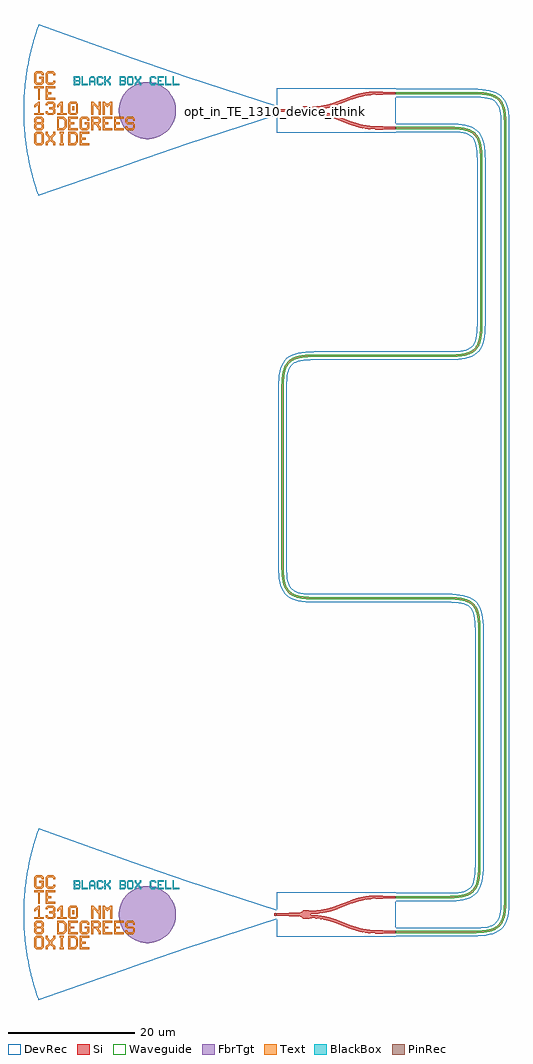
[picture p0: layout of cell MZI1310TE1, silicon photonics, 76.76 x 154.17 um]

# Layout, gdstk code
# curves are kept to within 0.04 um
import gdstk
lib = gdstk.Library(unit=1e-6, precision=1e-09)
def R(c, l, rs):  # rectangles x0, y0, x1, y1
    for r in rs: c.add(gdstk.rectangle(r[:2], r[2:], *l))
def P(c, l, *ps):  # polygons
    for p in ps: c.add(gdstk.Polygon(p, *l))
Si = (1, 0)
PinRec = (1, 10)
Waveguide = (1, 99)
Text = (10, 0)
DevRec = (68, 0)
FbrTgt = (81, 0)
BlackBox = (998, 0)

ebeam_y_1310 = lib.new_cell('ebeam_y_1310')
R(ebeam_y_1310, Si, [(6.5,-3,7.4,-2.5), (-7.4,-0.25,-6,0.25), (6.5,2.5,7.4,3)])
P(ebeam_y_1310, Si, [(6.458,-3),(6.237,-2.997),(6.237,-2.497),(6.5,-2.5),(6.5,-3)],
  [(5.033,-2.908),(3.59,-2.634),(2.265,-2.21),(2.445,-1.744),(3.731,-2.154),(5.033,-2.404)],
  [(6.233,-2.997),(5.033,-2.908),(5.033,-2.404),(6.237,-2.497)],
  [(2.265,-2.21),(0.055,-1.356),(0.235,-0.89),(2.445,-1.744)],
  [(-0.762,-1.076),(-2.334,-0.724),(-4,-0.6),(-4,-0.1),(-2.381,-0.212),(-0.762,-0.555)],
  [(0.055,-1.356),(-0.762,-1.076),(-0.762,-0.555),(0.235,-0.89)],
  [(6.237,2.497),(6.237,2.997),(6.5,3),(6.5,2.5)],
  [(2.445,1.744),(2.267,2.211),(3.59,2.634),(5.033,2.908),(5.033,2.404),(3.731,2.154)],
  [(5.033,2.404),(5.033,2.908),(6.237,2.997),(6.237,2.497)],
  [(0.235,0.89),(0.055,1.356),(2.265,2.21),(2.445,1.744)],
  [(-4,0.1),(-4,0.6),(-2.334,0.724),(-0.762,1.076),(-0.762,0.555),(-2.381,0.212)],
  [(-0.762,0.555),(-0.762,1.076),(0.055,1.356),(0.235,0.89)],
  [(-5.122,-0.662),(-5.442,-0.374),(-5.808,-0.255),(-6,-0.25),(-6,0.25),(-5.817,0.253),(-5.442,0.374),(-5.122,0.662)],
  [(-4.957,-0.703),(-5.122,-0.662),(-5.122,0.662),(-4.538,0.703),(-4,0.6),(-4,-0.6),(-4.509,-0.701)],
  [(-7.4,-0.25),(-9.4,-0.175),(-9.4,0.175),(-7.4,0.25)],
  [(7.4,2.5),(7.4,3),(9.4,2.925),(9.4,2.575)],
  [(7.4,-3),(7.4,-2.5),(9.4,-2.575),(9.4,-2.925)])
R(ebeam_y_1310, DevRec, [(-9.4,-3.5,9.4,3.5)])
ebeam_y_1310.add(gdstk.FlexPath([(9.35,2.75),(9.45,2.75)], 0.35, ends="flush", simple_path=True, layer=1, datatype=10))  # PinRec
ebeam_y_1310.add(gdstk.FlexPath([(9.35,-2.75),(9.45,-2.75)], 0.35, ends="flush", simple_path=True, layer=1, datatype=10))  # PinRec
ebeam_y_1310.add(gdstk.FlexPath([(-9.35,0),(-9.45,0)], 0.35, ends="flush", simple_path=True, layer=1, datatype=10))  # PinRec
ebeam_y_1310.add(gdstk.Label('Ref: Y Zhang, Opt. Express, 21/1, 2013, for 1550 nm\nWorks reasonably well at 1310 nm', (-9.25,-1), layer=10, texttype=0))
ebeam_y_1310.add(gdstk.Label('opt2', (9.4,2.75), layer=1, texttype=10))
ebeam_y_1310.add(gdstk.Label('opt3', (9.4,-2.75), layer=1, texttype=10))
ebeam_y_1310.add(gdstk.Label('opt1', (-9.4,0), layer=1, texttype=10))
ebeam_y_1310.add(gdstk.Label('Lumerical_INTERCONNECT_library=Design kits/ebeam', (-6.86,-2.19), layer=68, texttype=0))
ebeam_y_1310.add(gdstk.Label('Component=ebeam_y_1310', (-9,1.5), layer=68, texttype=0))

text_10 = lib.new_cell('TEXT$10')
P(text_10, BlackBox, [(0,0),(0,1.4),(0.8,1.4),(1,1.2),(0.2,1.2),(0.2,0.8),(0.7,0.8),(0.8,0.9),(0.8,1.1),(0.7,1.2),(1,1.2),(1,0.8),(0.9,0.7),(1,0.6),(0.2,0.6),(0.2,0.2),(0.7,0.2),(0.8,0.3),(0.8,0.5),(0.7,0.6),(1,0.6),(1,0.2),(0.8,0)],
  [(1.2,0),(1.2,1.4),(1.4,1.4),(1.4,0.2),(2.2,0.2),(2.2,0)],
  [(2.4,0),(2.4,1.1),(2.7,1.4),(3.1,1.4),(3.3,1.2),(2.8,1.2),(2.6,1),(2.6,0.7),(3.2,0.7),(3.2,1),(3,1.2),(3.3,1.2),(3.4,1.1),(3.4,0),(3.2,0),(3.2,0.5),(2.6,0.5),(2.6,0)],
  [(3.8,0),(3.6,0.2),(3.6,1.2),(3.8,1.4),(4.4,1.4),(4.6,1.2),(4.6,1),(4.4,1),(4.4,1.1),(4.3,1.2),(3.9,1.2),(3.8,1.1),(3.8,0.3),(3.9,0.2),(4.3,0.2),(4.4,0.3),(4.4,0.4),(4.6,0.4),(4.6,0.2),(4.4,0)],
  [(4.8,0),(4.8,1.4),(5,1.4),(5,0.8),(5.2,0.8),(5.6,1.2),(5.6,1.4),(5.8,1.4),(5.8,1.1),(5.4,0.7),(5.8,0.3),(5.8,0),(5.6,0),(5.6,0.2),(5.2,0.6),(5,0.6),(5,0)],
  [(7.2,0),(7.2,1.4),(8,1.4),(8.2,1.2),(7.4,1.2),(7.4,0.8),(7.9,0.8),(8,0.9),(8,1.1),(7.9,1.2),(8.2,1.2),(8.2,0.8),(8.1,0.7),(8.2,0.6),(7.4,0.6),(7.4,0.2),(7.9,0.2),(8,0.3),(8,0.5),(7.9,0.6),(8.2,0.6),(8.2,0.2),(8,0)],
  [(8.6,0),(8.4,0.2),(8.4,1.2),(8.6,1.4),(9.2,1.4),(9.4,1.2),(9.4,0.7),(9.2,0.7),(9.2,1.1),(9.1,1.2),(8.7,1.2),(8.6,1.1),(8.6,0.3),(8.7,0.2),(9.1,0.2),(9.2,0.3),(9.2,0.7),(9.4,0.7),(9.4,0.2),(9.2,0)],
  [(9.6,0),(9.6,0.3),(9.9,0.6),(9.9,0.8),(9.6,1.1),(9.6,1.4),(9.8,1.4),(9.8,1.2),(10.1,0.9),(10.4,1.2),(10.4,1.4),(10.6,1.4),(10.6,1.1),(10.3,0.8),(10.3,0.6),(10.6,0.3),(10.6,0),(10.4,0),(10.4,0.2),(10.1,0.5),(9.8,0.2),(9.8,0)],
  [(12.2,0),(12,0.2),(12,1.2),(12.2,1.4),(12.8,1.4),(13,1.2),(13,1),(12.8,1),(12.8,1.1),(12.7,1.2),(12.3,1.2),(12.2,1.1),(12.2,0.3),(12.3,0.2),(12.7,0.2),(12.8,0.3),(12.8,0.4),(13,0.4),(13,0.2),(12.8,0)],
  [(13.2,0),(13.2,1.4),(14.2,1.4),(14.2,1.2),(13.4,1.2),(13.4,0.8),(13.8,0.8),(13.8,0.6),(13.4,0.6),(13.4,0.2),(14.2,0.2),(14.2,0)],
  [(14.4,0),(14.4,1.4),(14.6,1.4),(14.6,0.2),(15.4,0.2),(15.4,0)],
  [(15.6,0),(15.6,1.4),(15.8,1.4),(15.8,0.2),(16.6,0.2),(16.6,0)])

gc_te_1310_8degoxide_bb = lib.new_cell('GC_TE_1310_8degOxide_BB')
R(gc_te_1310_8degoxide_bb, Si, [(-0.4,-0.175,0,0.175)])
R(gc_te_1310_8degoxide_bb, Text, [(-32.27,0.06,-31.97,0.66)])
P(gc_te_1310_8degoxide_bb, Text, [(-37.67,1.71),(-37.67,3.51),(-38.27,3.51),(-38.27,3.81),(-36.77,3.81),(-36.77,3.51),(-37.37,3.51),(-37.37,1.71)],
  [(-37.97,-5.49),(-38.27,-5.19),(-38.27,-3.69),(-37.97,-3.39),(-37.07,-3.39),(-36.77,-3.69),(-36.77,-4.44),(-37.07,-4.44),(-37.07,-3.84),(-37.22,-3.69),(-37.82,-3.69),(-37.97,-3.84),(-37.97,-5.04),(-37.82,-5.19),(-37.22,-5.19),(-37.07,-5.04),(-37.07,-4.44),(-36.77,-4.44),(-36.77,-5.19),(-37.07,-5.49)],
  [(-31.07,-5.49),(-31.07,-3.39),(-29.57,-3.39),(-29.57,-3.69),(-30.77,-3.69),(-30.77,-4.29),(-30.17,-4.29),(-30.17,-4.59),(-30.77,-4.59),(-30.77,-5.19),(-29.57,-5.19),(-29.57,-5.49)],
  [(-32.87,-3.09),(-32.87,-0.99),(-31.37,-0.99),(-31.37,-1.29),(-32.57,-1.29),(-32.57,-1.89),(-31.97,-1.89),(-31.97,-2.19),(-32.57,-2.19),(-32.57,-2.79),(-31.37,-2.79),(-31.37,-3.09)],
  [(-27.47,-3.09),(-27.47,-0.99),(-25.97,-0.99),(-25.97,-1.29),(-27.17,-1.29),(-27.17,-1.89),(-26.57,-1.89),(-26.57,-2.19),(-27.17,-2.19),(-27.17,-2.79),(-25.97,-2.79),(-25.97,-3.09)],
  [(-25.67,-3.09),(-25.67,-0.99),(-24.17,-0.99),(-24.17,-1.29),(-25.37,-1.29),(-25.37,-1.89),(-24.77,-1.89),(-24.77,-2.19),(-25.37,-2.19),(-25.37,-2.79),(-24.17,-2.79),(-24.17,-3.09)],
  [(-36.47,1.71),(-36.47,3.81),(-34.97,3.81),(-34.97,3.51),(-36.17,3.51),(-36.17,2.91),(-35.57,2.91),(-35.57,2.61),(-36.17,2.61),(-36.17,2.01),(-34.97,2.01),(-34.97,1.71)],
  [(-27.47,-0.69),(-27.47,1.41),(-27.17,1.41),(-26.87,1.11),(-26.57,1.11),(-26.27,1.41),(-25.97,1.41),(-25.97,-0.69),(-26.27,-0.69),(-26.27,0.81),(-26.42,0.81),(-26.72,0.51),(-27.02,0.81),(-27.17,0.81),(-27.17,-0.69)],
  [(-29.27,-0.69),(-29.27,1.41),(-28.97,1.41),(-28.22,0.66),(-28.07,0.66),(-28.07,1.41),(-27.77,1.41),(-27.77,-0.69),(-28.07,-0.69),(-28.07,0.06),(-28.82,0.81),(-28.97,0.81),(-28.97,-0.69)],
  [(-34.22,-5.49),(-34.22,-5.19),(-34.07,-5.19),(-34.07,-3.69),(-34.22,-3.69),(-34.22,-3.39),(-33.62,-3.39),(-33.62,-3.69),(-33.77,-3.69),(-33.77,-5.19),(-33.62,-5.19),(-33.62,-5.49)],
  [(-36.17,-0.69),(-36.47,-0.39),(-36.47,-0.09),(-36.17,-0.09),(-36.17,-0.24),(-36.02,-0.39),(-35.42,-0.39),(-35.27,-0.24),(-35.27,0.06),(-35.42,0.21),(-35.87,0.21),(-35.87,0.51),(-35.42,0.51),(-35.27,0.66),(-35.27,0.96),(-35.42,1.11),(-36.02,1.11),(-36.17,0.96),(-36.17,0.81),(-36.47,0.81),(-36.47,1.11),(-36.17,1.41),(-35.27,1.41),(-34.97,1.11),(-34.97,0.51),(-35.12,0.36),(-34.97,0.21),(-34.97,-0.39),(-35.27,-0.69)],
  [(-29.27,-3.09),(-29.27,-0.99),(-28.07,-0.99),(-27.77,-1.29),(-28.97,-1.29),(-28.97,-1.89),(-28.22,-1.89),(-28.07,-1.74),(-28.07,-1.44),(-28.22,-1.29),(-27.77,-1.29),(-27.77,-1.89),(-28.07,-2.19),(-28.07,-2.34),(-27.77,-2.64),(-27.77,-3.09),(-28.07,-3.09),(-28.07,-2.79),(-28.67,-2.19),(-28.97,-2.19),(-28.97,-3.09)],
  [(-30.77,-3.09),(-31.07,-2.79),(-31.07,-1.29),(-30.77,-0.99),(-29.87,-0.99),(-29.57,-1.29),(-29.57,-1.59),(-29.87,-1.59),(-29.87,-1.44),(-30.02,-1.29),(-30.62,-1.29),(-30.77,-1.44),(-30.77,-2.64),(-30.62,-2.79),(-30.02,-2.79),(-29.87,-2.64),(-29.87,-2.19),(-30.32,-2.19),(-30.32,-1.89),(-29.57,-1.89),(-29.57,-2.79),(-29.87,-3.09)],
  [(-37.97,4.11),(-38.27,4.41),(-38.27,5.91),(-37.97,6.21),(-37.07,6.21),(-36.77,5.91),(-36.77,5.61),(-37.07,5.61),(-37.07,5.76),(-37.22,5.91),(-37.82,5.91),(-37.97,5.76),(-37.97,4.56),(-37.82,4.41),(-37.22,4.41),(-37.07,4.56),(-37.07,5.01),(-37.52,5.01),(-37.52,5.31),(-36.77,5.31),(-36.77,4.41),(-37.07,4.11)],
  [(-32.57,-0.69),(-32.87,-0.39),(-32.87,1.11),(-32.57,1.41),(-31.67,1.41),(-31.37,1.11),(-32.42,1.11),(-32.57,0.96),(-32.57,-0.24),(-32.42,-0.39),(-31.82,-0.39),(-31.67,-0.24),(-31.67,0.96),(-31.82,1.11),(-31.37,1.11),(-31.37,-0.39),(-31.67,-0.69)],
  [(-32.87,-5.49),(-32.87,-3.39),(-31.82,-3.39),(-31.52,-3.69),(-32.57,-3.69),(-32.57,-5.19),(-31.97,-5.19),(-31.67,-4.89),(-31.67,-3.99),(-31.97,-3.69),(-31.52,-3.69),(-31.37,-3.84),(-31.37,-5.04),(-31.82,-5.49)],
  [(-34.67,-3.09),(-34.67,-0.99),(-33.62,-0.99),(-33.32,-1.29),(-34.37,-1.29),(-34.37,-2.79),(-33.77,-2.79),(-33.47,-2.49),(-33.47,-1.59),(-33.77,-1.29),(-33.32,-1.29),(-33.17,-1.44),(-33.17,-2.64),(-33.62,-3.09)],
  [(-23.57,-3.09),(-23.87,-2.79),(-23.87,-2.49),(-23.57,-2.49),(-23.57,-2.64),(-23.42,-2.79),(-22.82,-2.79),(-22.67,-2.64),(-22.67,-2.34),(-22.82,-2.19),(-23.57,-2.19),(-23.87,-1.89),(-23.87,-1.29),(-23.57,-0.99),(-22.67,-0.99),(-22.37,-1.29),(-22.37,-1.59),(-22.67,-1.59),(-22.67,-1.44),(-22.82,-1.29),(-23.42,-1.29),(-23.57,-1.44),(-23.57,-1.74),(-23.42,-1.89),(-22.67,-1.89),(-22.37,-2.19),(-22.37,-2.79),(-22.67,-3.09)],
  [(-37.97,-3.09),(-38.27,-2.79),(-38.27,-2.19),(-38.12,-2.04),(-38.27,-1.89),(-38.27,-1.29),(-37.97,-0.99),(-37.07,-0.99),(-36.77,-1.29),(-37.82,-1.29),(-37.97,-1.44),(-37.97,-1.74),(-37.82,-1.89),(-37.22,-1.89),(-37.07,-1.74),(-37.07,-1.44),(-37.22,-1.29),(-36.77,-1.29),(-36.77,-1.89),(-36.92,-2.04),(-36.77,-2.19),(-37.82,-2.19),(-37.97,-2.34),(-37.97,-2.64),(-37.82,-2.79),(-37.22,-2.79),(-37.07,-2.64),(-37.07,-2.34),(-37.22,-2.19),(-36.77,-2.19),(-36.77,-2.79),(-37.07,-3.09)],
  [(-38.27,-0.69),(-38.27,-0.39),(-37.67,-0.39),(-37.67,0.81),(-37.82,0.81),(-38.12,0.51),(-38.27,0.51),(-38.27,0.81),(-37.67,1.41),(-37.37,1.41),(-37.37,-0.39),(-36.77,-0.39),(-36.77,-0.69)],
  [(-34.67,-0.69),(-34.67,-0.39),(-34.07,-0.39),(-34.07,0.81),(-34.22,0.81),(-34.52,0.51),(-34.67,0.51),(-34.67,0.81),(-34.07,1.41),(-33.77,1.41),(-33.77,-0.39),(-33.17,-0.39),(-33.17,-0.69)],
  [(-36.47,-5.49),(-36.47,-5.04),(-36.02,-4.59),(-36.02,-4.29),(-36.47,-3.84),(-36.47,-3.39),(-36.17,-3.39),(-36.17,-3.69),(-35.72,-4.14),(-35.27,-3.69),(-35.27,-3.39),(-34.97,-3.39),(-34.97,-3.84),(-35.42,-4.29),(-35.42,-4.59),(-34.97,-5.04),(-34.97,-5.49),(-35.27,-5.49),(-35.27,-5.19),(-35.72,-4.74),(-36.17,-5.19),(-36.17,-5.49)],
  [(-36.17,4.11),(-36.47,4.41),(-36.47,5.91),(-36.17,6.21),(-35.27,6.21),(-34.97,5.91),(-34.97,5.61),(-35.27,5.61),(-35.27,5.76),(-35.42,5.91),(-36.02,5.91),(-36.17,5.76),(-36.17,4.56),(-36.02,4.41),(-35.42,4.41),(-35.27,4.56),(-35.27,4.71),(-34.97,4.71),(-34.97,4.41),(-35.27,4.11)])
P(gc_te_1310_8degoxide_bb, DevRec, [(-37.607,-13.5),(-38.627,-10.245),(-39.378,-6.832),(-39.647,-5.058),(-39.835,-3.274),(-39.969,0.224),(-39.812,3.541),(-39.331,7.097),(-38.557,10.505),(-37.546,13.669),(-22.8,8.353),(-14.109,5.36),(0,0.75),(0,-0.75),(-14.109,-5.36)])
P(gc_te_1310_8degoxide_bb, FbrTgt, [(-20.621,-4.5),(-21.495,-4.37),(-22.326,-4.073),(-23.084,-3.619),(-23.738,-3.026),(-24.264,-2.316),(-24.642,-1.518),(-24.857,-0.661),(-24.9,0.221),(-24.77,1.095),(-24.473,1.926),(-24.019,2.684),(-23.426,3.338),(-22.716,3.864),(-21.918,4.242),(-21.061,4.457),(-20.179,4.5),(-19.305,4.37),(-18.474,4.073),(-17.716,3.619),(-17.062,3.026),(-16.536,2.316),(-16.158,1.518),(-15.943,0.661),(-15.9,-0.221),(-16.03,-1.095),(-16.327,-1.926),(-16.781,-2.684),(-17.374,-3.338),(-18.084,-3.864),(-18.882,-4.242),(-19.739,-4.457)])
gc_te_1310_8degoxide_bb.add(gdstk.FlexPath([(-0.01,0),(0.01,0)], 0.35, ends="flush", simple_path=True, layer=1, datatype=10))  # PinRec
gc_te_1310_8degoxide_bb.add(gdstk.Reference(text_10, (-32,4)))
gc_te_1310_8degoxide_bb.add(gdstk.Label('opt1', (0,0), layer=1, texttype=10))
gc_te_1310_8degoxide_bb.add(gdstk.Label('Lumerical_INTERCONNECT_library=Design kits/ebeam', (-29,-7), layer=68, texttype=0))
gc_te_1310_8degoxide_bb.add(gdstk.Label('Component=GC_TE_1310_8degOxide_BB', (-28,-5), layer=68, texttype=0))

waveguide_4 = lib.new_cell('Waveguide$4')
P(waveguide_4, Si, [(5.07,-3.105),(5.07,-2.755),(17.608,-2.753),(18.783,-2.701),(19.748,-2.557),(20.28,-2.405),(20.73,-2.205),(21.105,-1.953),(21.414,-1.644),(21.666,-1.269),(21.866,-0.819),(22.018,-0.287),(22.144,0.503),(22.215,2.07),(22.215,124.57),(22.123,126.308),(22.017,126.928),(21.82,127.58),(21.606,128.01),(21.341,128.367),(20.924,128.727),(20.514,128.952),(19.447,129.257),(18.601,129.356),(17.607,129.394),(5.07,129.395),(5.07,129.745),(17.611,129.744),(18.995,129.672),(19.974,129.504),(20.656,129.272),(21.225,128.943),(21.683,128.507),(22.033,127.96),(22.323,127.155),(22.471,126.352),(22.555,125.216),(22.565,2.07),(22.492,0.465),(22.36,-0.363),(22.196,-0.937),(21.972,-1.437),(21.684,-1.866),(21.327,-2.223),(20.898,-2.511),(20.398,-2.735),(19.668,-2.931),(18.628,-3.065),(17.612,-3.103)])
P(waveguide_4, Waveguide, [(5.07,-3.105),(5.07,-2.755),(17.608,-2.753),(18.783,-2.701),(19.748,-2.557),(20.28,-2.405),(20.73,-2.205),(21.105,-1.953),(21.414,-1.644),(21.666,-1.269),(21.866,-0.819),(22.018,-0.287),(22.144,0.503),(22.215,2.07),(22.215,124.57),(22.123,126.308),(22.017,126.928),(21.82,127.58),(21.606,128.01),(21.341,128.367),(20.924,128.727),(20.514,128.952),(19.447,129.257),(18.601,129.356),(17.607,129.394),(5.07,129.395),(5.07,129.745),(17.611,129.744),(18.995,129.672),(19.974,129.504),(20.656,129.272),(21.225,128.943),(21.683,128.507),(22.033,127.96),(22.323,127.155),(22.471,126.352),(22.555,125.216),(22.565,2.07),(22.492,0.465),(22.36,-0.363),(22.196,-0.937),(21.972,-1.437),(21.684,-1.866),(21.327,-2.223),(20.898,-2.511),(20.398,-2.735),(19.668,-2.931),(18.628,-3.065),(17.612,-3.103)])
P(waveguide_4, DevRec, [(5.07,-3.605),(5.07,-2.255),(18.042,-2.244),(19.146,-2.156),(19.989,-1.975),(20.588,-1.708),(20.815,-1.544),(21.169,-1.127),(21.436,-0.528),(21.538,-0.138),(21.673,0.834),(21.715,2.07),(21.715,124.57),(21.616,126.326),(21.435,127.169),(21.312,127.497),(21.004,127.995),(20.814,128.185),(20.316,128.493),(19.145,128.797),(17.389,128.895),(5.07,128.895),(5.07,130.245),(17.391,130.245),(18.734,130.199),(19.884,130.038),(20.868,129.725),(21.69,129.211),(22.03,128.871),(22.314,128.482),(22.723,127.575),(22.954,126.512),(23.054,125.27),(23.065,2.07),(23.019,0.726),(22.858,-0.424),(22.724,-0.934),(22.315,-1.841),(22.031,-2.23),(21.302,-2.854),(20.869,-3.084),(19.885,-3.397),(18.735,-3.558),(17.391,-3.605)])
waveguide_4.add(gdstk.FlexPath([(5.08,129.57),(5.06,129.57)], 0.35, ends="flush", simple_path=True, layer=1, datatype=10))  # PinRec
waveguide_4.add(gdstk.FlexPath([(5.08,-2.93),(5.06,-2.93)], 0.35, ends="flush", simple_path=True, layer=1, datatype=10))  # PinRec
waveguide_4.add(gdstk.Label('opt1', (5.07,129.57), layer=1, texttype=10))
waveguide_4.add(gdstk.Label('opt2', (5.07,-2.93), layer=1, texttype=10))
waveguide_4.add(gdstk.Label('Lumerical_INTERCONNECT_library=Design kits/EBeam', (5.07,129.5), layer=68, texttype=0))
waveguide_4.add(gdstk.Label('Component=ebeam_wg_integral_1310', (5.07,129.64), layer=68, texttype=0))
waveguide_4.add(gdstk.Label('cellName=Waveguide', (5.07,129.71), layer=68, texttype=0))
waveguide_4.add(gdstk.Label('Spice_param:wg_length=0.000164047 wg_width=3.5e-07 points="[[5.07,129.57],[22.39,129.57],[22.39,-2.93],[5.07,-2.93]]" radius=5e-06', (5.07,129.57), layer=68, texttype=0))
waveguide_4.add(gdstk.Label('Length=164.047 (microns)', (5.07,129.15), layer=68, texttype=0))
waveguide_4.add(gdstk.Label('waveguide_type=Strip TE 1310 nm, w=350 nm', (5.07,129.43), layer=68, texttype=0))

waveguide_6 = lib.new_cell('Waveguide$6')
P(waveguide_6, Si, [(5.07,2.395),(5.07,2.745),(13.73,2.75),(14.693,2.799),(15.512,2.913),(16.31,3.14),(17.015,3.547),(17.517,4.131),(17.858,4.937),(18.072,6.178),(18.125,7.57),(18.125,44.79),(18.071,46.183),(17.927,47.148),(17.775,47.68),(17.575,48.13),(17.323,48.505),(17.014,48.814),(16.639,49.066),(16.189,49.266),(15.037,49.524),(13.3,49.615),(-8.629,49.633),(-9.733,49.733),(-10.788,49.985),(-11.511,50.344),(-12.074,50.854),(-12.424,51.401),(-12.714,52.206),(-12.862,53.009),(-12.946,54.145),(-12.955,83.09),(-12.915,84.328),(-12.81,85.208),(-12.631,85.961),(-12.423,86.48),(-12.073,87.027),(-11.615,87.463),(-11.169,87.734),(-10.65,87.942),(-9.897,88.121),(-9.017,88.226),(-8.001,88.264),(14.636,88.293),(15.668,88.404),(16.62,88.66),(17.325,89.067),(17.767,89.556),(18.041,90.081),(18.268,90.879),(18.382,91.698),(18.434,92.873),(18.433,119.288),(18.343,120.808),(18.085,121.96),(17.7,122.698),(17.144,123.227),(16.499,123.546),(15.51,123.782),(13.827,123.894),(5.07,123.895),(5.07,124.245),(14.847,124.206),(15.727,124.101),(16.48,123.922),(17.117,123.652),(17.642,123.282),(18.056,122.801),(18.364,122.21),(18.579,121.504),(18.729,120.495),(18.785,119.07),(18.781,92.655),(18.712,91.485),(18.58,90.657),(18.365,89.951),(18.057,89.36),(17.547,88.797),(17.232,88.574),(16.75,88.336),(15.888,88.089),(14.656,87.943),(-7.997,87.914),(-8.991,87.876),(-9.837,87.777),(-10.413,87.648),(-11.013,87.42),(-11.494,87.114),(-11.803,86.805),(-12.055,86.43),(-12.297,85.855),(-12.466,85.148),(-12.551,84.483),(-12.605,83.09),(-12.601,54.361),(-12.534,53.223),(-12.374,52.292),(-12.162,51.666),(-11.804,51.076),(-11.315,50.634),(-10.67,50.315),(-9.838,50.104),(-8.613,49.983),(13.521,49.964),(15.081,49.872),(16.307,49.596),(16.807,49.372),(17.236,49.084),(17.593,48.727),(17.881,48.298),(18.105,47.798),(18.269,47.224),(18.435,46.028),(18.475,44.79),(18.475,7.57),(18.402,5.965),(18.194,4.841),(17.817,3.949),(17.333,3.359),(16.922,3.054),(16.567,2.869),(15.578,2.569),(14.725,2.451),(13.736,2.4)])
P(waveguide_6, Waveguide, [(5.07,2.395),(5.07,2.745),(13.73,2.75),(14.693,2.799),(15.512,2.913),(16.31,3.14),(17.015,3.547),(17.517,4.131),(17.858,4.937),(18.072,6.178),(18.125,7.57),(18.125,44.79),(18.071,46.183),(17.927,47.148),(17.775,47.68),(17.575,48.13),(17.323,48.505),(17.014,48.814),(16.639,49.066),(16.189,49.266),(15.037,49.524),(13.3,49.615),(-8.629,49.633),(-9.733,49.733),(-10.788,49.985),(-11.511,50.344),(-12.074,50.854),(-12.424,51.401),(-12.714,52.206),(-12.862,53.009),(-12.946,54.145),(-12.955,83.09),(-12.915,84.328),(-12.81,85.208),(-12.631,85.961),(-12.423,86.48),(-12.073,87.027),(-11.615,87.463),(-11.169,87.734),(-10.65,87.942),(-9.897,88.121),(-9.017,88.226),(-8.001,88.264),(14.636,88.293),(15.668,88.404),(16.62,88.66),(17.325,89.067),(17.767,89.556),(18.041,90.081),(18.268,90.879),(18.382,91.698),(18.434,92.873),(18.433,119.288),(18.343,120.808),(18.085,121.96),(17.7,122.698),(17.144,123.227),(16.499,123.546),(15.51,123.782),(13.827,123.894),(5.07,123.895),(5.07,124.245),(14.847,124.206),(15.727,124.101),(16.48,123.922),(17.117,123.652),(17.642,123.282),(18.056,122.801),(18.364,122.21),(18.579,121.504),(18.729,120.495),(18.785,119.07),(18.781,92.655),(18.712,91.485),(18.58,90.657),(18.365,89.951),(18.057,89.36),(17.547,88.797),(17.232,88.574),(16.75,88.336),(15.888,88.089),(14.656,87.943),(-7.997,87.914),(-8.991,87.876),(-9.837,87.777),(-10.413,87.648),(-11.013,87.42),(-11.494,87.114),(-11.803,86.805),(-12.055,86.43),(-12.297,85.855),(-12.466,85.148),(-12.551,84.483),(-12.605,83.09),(-12.601,54.361),(-12.534,53.223),(-12.374,52.292),(-12.162,51.666),(-11.804,51.076),(-11.315,50.634),(-10.67,50.315),(-9.838,50.104),(-8.613,49.983),(13.521,49.964),(15.081,49.872),(16.307,49.596),(16.807,49.372),(17.236,49.084),(17.593,48.727),(17.881,48.298),(18.105,47.798),(18.269,47.224),(18.435,46.028),(18.475,44.79),(18.475,7.57),(18.402,5.965),(18.194,4.841),(17.817,3.949),(17.333,3.359),(16.922,3.054),(16.567,2.869),(15.578,2.569),(14.725,2.451),(13.736,2.4)])
P(waveguide_6, DevRec, [(5.07,1.895),(5.07,3.245),(13.299,3.245),(15.056,3.344),(15.899,3.525),(16.498,3.792),(16.725,3.956),(17.079,4.373),(17.346,4.972),(17.583,6.334),(17.625,7.57),(17.625,44.79),(17.582,46.027),(17.447,46.999),(17.222,47.717),(16.914,48.215),(16.724,48.405),(16.226,48.713),(15.898,48.836),(15.055,49.017),(13.3,49.115),(-8.48,49.126),(-9.722,49.226),(-10.785,49.457),(-11.692,49.866),(-12.421,50.49),(-12.705,50.879),(-13.114,51.786),(-13.345,52.849),(-13.445,54.092),(-13.455,83.09),(-13.408,84.435),(-13.247,85.585),(-13.113,86.095),(-12.704,87.002),(-12.42,87.391),(-11.691,88.015),(-11.258,88.245),(-10.274,88.558),(-9.124,88.719),(-7.78,88.765),(14.262,88.776),(15.366,88.864),(16.209,89.045),(16.808,89.312),(17.035,89.476),(17.389,89.893),(17.656,90.492),(17.837,91.335),(17.935,93.09),(17.935,119.07),(17.892,120.307),(17.655,121.669),(17.388,122.268),(17.224,122.495),(16.807,122.849),(16.208,123.116),(15.365,123.297),(13.609,123.395),(5.07,123.395),(5.07,124.745),(14.954,124.699),(16.104,124.538),(16.614,124.404),(17.521,123.995),(17.91,123.711),(18.25,123.371),(18.764,122.549),(19.077,121.565),(19.238,120.415),(19.285,119.07),(19.275,92.392),(19.078,90.596),(18.765,89.612),(18.535,89.179),(17.911,88.45),(17.089,87.936),(16.105,87.623),(14.955,87.462),(13.61,87.415),(-7.78,87.415),(-9.535,87.317),(-10.706,87.013),(-11.204,86.705),(-11.394,86.515),(-11.702,86.017),(-11.825,85.689),(-12.062,84.327),(-12.105,83.09),(-12.095,54.138),(-11.928,52.582),(-11.703,51.864),(-11.395,51.366),(-10.978,51.012),(-10.379,50.745),(-9.536,50.564),(-8.432,50.476),(13.3,50.465),(15.241,50.355),(16.304,50.124),(16.778,49.945),(17.6,49.431),(18.224,48.702),(18.454,48.269),(18.767,47.285),(18.928,46.135),(18.975,44.79),(18.975,7.57),(18.865,5.629),(18.634,4.566),(18.225,3.659),(17.601,2.93),(16.779,2.416),(15.795,2.103),(14,1.906)])
waveguide_6.add(gdstk.FlexPath([(5.08,124.07),(5.06,124.07)], 0.35, ends="flush", simple_path=True, layer=1, datatype=10))  # PinRec
waveguide_6.add(gdstk.FlexPath([(5.08,2.57),(5.06,2.57)], 0.35, ends="flush", simple_path=True, layer=1, datatype=10))  # PinRec
waveguide_6.add(gdstk.Label('opt1', (5.07,124.07), layer=1, texttype=10))
waveguide_6.add(gdstk.Label('opt2', (5.07,2.57), layer=1, texttype=10))
waveguide_6.add(gdstk.Label('Lumerical_INTERCONNECT_library=Design kits/EBeam', (5.07,124), layer=68, texttype=0))
waveguide_6.add(gdstk.Label('Component=ebeam_wg_integral_1310', (5.07,124.14), layer=68, texttype=0))
waveguide_6.add(gdstk.Label('cellName=Waveguide', (5.07,124.21), layer=68, texttype=0))
waveguide_6.add(gdstk.Label('Spice_param:wg_length=0.000201462 wg_width=3.5e-07 points="[[5.07,124.07],[18.61,124.07],[18.61,88.09],[-12.78,88.09],[-12.78,49.79],[18.3,49.79],[18.3,2.57],[5.07,2.57]]" radius=5e-06', (5.07,124.07), layer=68, texttype=0))
waveguide_6.add(gdstk.Label('Length=201.462 (microns)', (5.07,123.65), layer=68, texttype=0))
waveguide_6.add(gdstk.Label('waveguide_type=Strip TE 1310 nm, w=350 nm', (5.07,123.93), layer=68, texttype=0))

mzi1310te1 = lib.new_cell('MZI1310TE1')
mzi1310te1.add(gdstk.Reference(ebeam_y_1310, (-4.33,126.82)))
mzi1310te1.add(gdstk.Reference(ebeam_y_1310, (-4.33,-0.18)))
mzi1310te1.add(gdstk.Reference(gc_te_1310_8degoxide_bb, (-13.73,-0.18)))
mzi1310te1.add(gdstk.Reference(waveguide_4, (0,0)))
mzi1310te1.add(gdstk.Reference(waveguide_6, (0,0)))
mzi1310te1.add(gdstk.Reference(gc_te_1310_8degoxide_bb, (-13.73,126.82)))
mzi1310te1.add(gdstk.Label('opt_in_TE_1310_device_ithinkiamsudipta_circuit2_MZI1310TE1', (-13.82,126.7), layer=10, texttype=0))

lib.write_gds('MZI1310TE1.gds')
